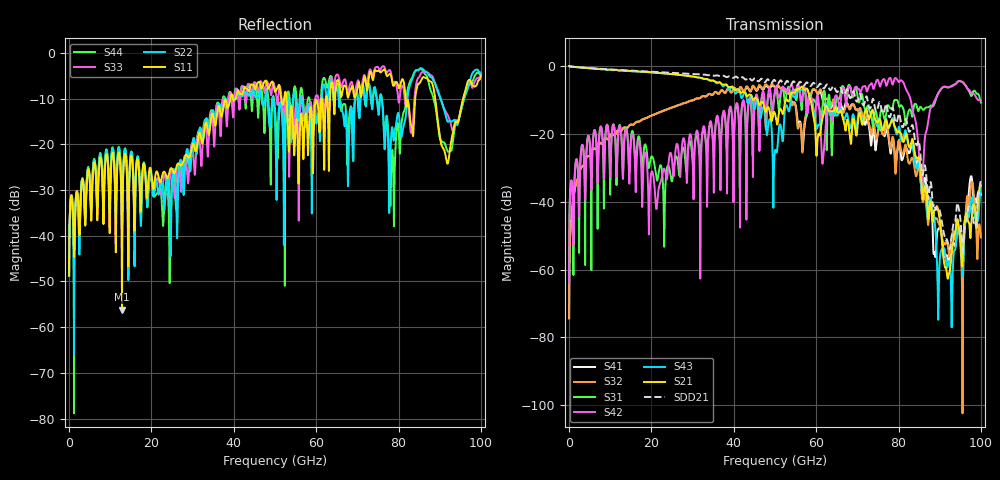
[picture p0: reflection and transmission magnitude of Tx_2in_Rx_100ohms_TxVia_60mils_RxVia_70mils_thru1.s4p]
! Info: Touchstone file created by Circ.  Input file=Tx_2in_Rx_100ohms_TxVia_60mils_RxVia_70mils.circ
# Hz S RI R 50
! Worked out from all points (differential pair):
!   10000 points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, 10 MHz to 100 GHz, reference 50 ohm
!   strongest paths, dB at 10 MHz, 25.01 GHz, 50.01 GHz, 75.01 GHz, 100 GHz:
!     S21: 0.0, -2.4, -14.0, -16.4, -35.1
!     S43: 0.0, -2.4, -25.0, -16.8, -35.5
!     S42: -63.9, -27.8, -6.9, -4.2, -10.0
!     S31: -63.9, -33.9, -7.9, -17.5, -10.8
!     S32: -74.4, -12.2, -6.1, -19.3, -50.5
!     S41: -74.4, -12.2, -6.3, -19.6, -37.9
!   taken as a pair (ports 1,3 in; 2,4 out), SDD21 dB: 0.0, -2.0, -4.3, -12.0, -33.8
!   lowest |S11| = -56.1 dB at 12.85 GHz (marker M1), VSWR 1.00, Z = 49.9 - j0.0736 ohm
!   |S11| at or under -10 dB: start of sweep to 39.16 GHz; 52.8 GHz to 61.3 GHz (8.506 GHz wide, 14.9 % of centre); 88.92 GHz to 95.7 GHz (6.786 GHz wide, 7.35 % of centre) (the widest 3 of 9)
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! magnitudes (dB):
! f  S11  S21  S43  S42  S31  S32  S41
! 10 MHz  -48.7  0.0  0.0  -63.9  -63.9  -74.4  -74.4
! 2.67 GHz  -36.3  -0.4  -0.4  -30.3  -30.4  -30.8  -30.8
! 12.85 GHz  -56.1  -1.3  -1.3  -24.4  -24.6  -18.9  -18.9
! 78.52 GHz  -6.5  -15.7  -15.3  -5.4  -12.5  -21.0  -21.8
! 85.58 GHz  -5.9  -34.7  -36.5  -36.5  -12.3  -36.9  -37.1
! 92.76 GHz  -19.5  -57.2  -66.6  -6.1  -5.9  -51.6  -54.0
! 100 GHz  -5.1  -35.1  -35.5  -10.0  -10.8  -50.5  -37.9
